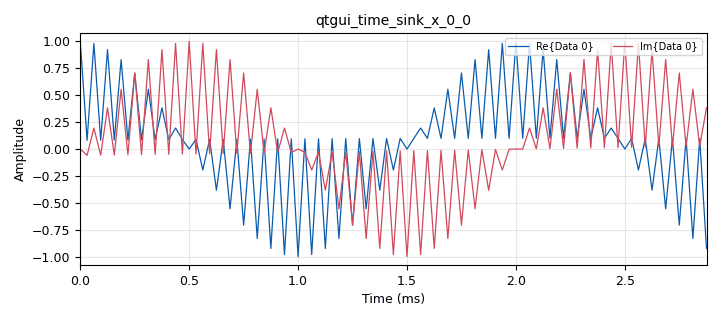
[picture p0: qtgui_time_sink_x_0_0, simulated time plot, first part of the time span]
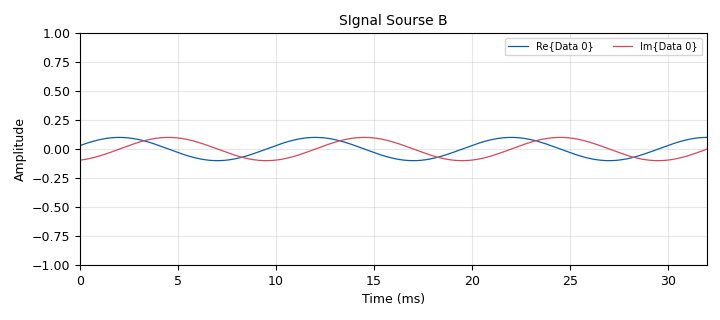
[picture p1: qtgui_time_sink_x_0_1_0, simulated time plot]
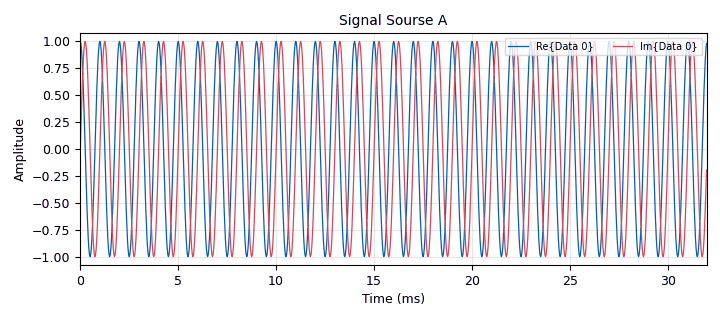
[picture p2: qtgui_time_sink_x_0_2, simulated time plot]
options:
  parameters:
    author: cqu-qianli
    generate_options: qt_gui
    id: streamtovector2
    output_language: python
    title: Not titled yet
  states: {}

blocks:
- name: samp_rate
  id: variable
  parameters:
    value: '32000'
  states: {}
- name: analog_sig_source_x_0_2
  id: analog_sig_source_x
  parameters:
    amp: '1'
    freq: '1000'
    offset: '0'
    phase: '0'
    samp_rate: samp_rate
    type: complex
    waveform: analog.GR_COS_WAVE
  states: {}
- name: analog_sig_source_x_0_2_0
  id: analog_sig_source_x
  parameters:
    amp: '0.1'
    freq: '100'
    offset: '0'
    phase: '0'
    samp_rate: samp_rate
    type: complex
    waveform: analog.GR_COS_WAVE
  states: {}
- name: blocks_streams_to_vector_0
  id: blocks_streams_to_vector
  parameters:
    type: complex
  states: {}
- name: blocks_vector_to_stream_0
  id: blocks_vector_to_stream
  parameters:
    type: complex
  states: {}
- name: blocks_vector_to_streams_0
  id: blocks_vector_to_streams
  parameters:
    type: complex
  states: {}
- name: qtgui_time_sink_x_0
  id: qtgui_time_sink_x
  parameters:
    name: '"Signal Sourse A"'
    size: '1024'
    srate: samp_rate
    type: complex
  states: {state: disabled}
- name: qtgui_time_sink_x_0_0
  id: qtgui_time_sink_x
  parameters:
    size: '1024'
    srate: samp_rate
    type: complex
  states: {}
- name: qtgui_time_sink_x_0_1
  id: qtgui_time_sink_x
  parameters:
    name: '"SIgnal Sourse B"'
    size: '1024'
    srate: samp_rate
    type: complex
  states: {state: disabled}
- name: qtgui_time_sink_x_0_1_0
  id: qtgui_time_sink_x
  parameters:
    name: '"SIgnal Sourse B"'
    size: '1024'
    srate: samp_rate
    type: complex
  states: {}
- name: qtgui_time_sink_x_0_2
  id: qtgui_time_sink_x
  parameters:
    name: '"Signal Sourse A"'
    size: '1024'
    srate: samp_rate
    type: complex
  states: {}

connections:
- [analog_sig_source_x_0_2, '0', blocks_streams_to_vector_0, '0']
- [analog_sig_source_x_0_2, '0', qtgui_time_sink_x_0, '0']
- [analog_sig_source_x_0_2_0, '0', blocks_streams_to_vector_0, '1']
- [analog_sig_source_x_0_2_0, '0', qtgui_time_sink_x_0_1, '0']
- [blocks_streams_to_vector_0, '0', blocks_vector_to_stream_0, '0']
- [blocks_streams_to_vector_0, '0', blocks_vector_to_streams_0, '0']
- [blocks_vector_to_stream_0, '0', qtgui_time_sink_x_0_0, '0']
- [blocks_vector_to_streams_0, '0', qtgui_time_sink_x_0_2, '0']
- [blocks_vector_to_streams_0, '1', qtgui_time_sink_x_0_1_0, '0']

metadata:
  file_format: 1
  grc_version: 3.10.7.0
